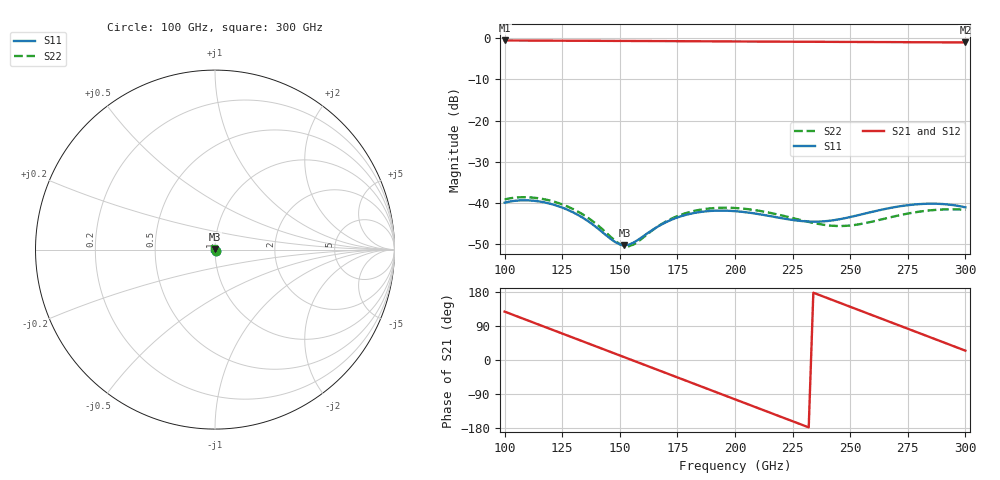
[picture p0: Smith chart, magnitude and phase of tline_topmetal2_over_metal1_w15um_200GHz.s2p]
#  GHZ S DB R 50
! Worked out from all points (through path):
!   101 points, 100 GHz to 300 GHz, reference 50 ohm
!   highest |S21| = -0.53 dB at 100 GHz (marker M1); lowest = -1.0 dB at 300 GHz (marker M2)
!   group delay of S21, straight-line fit = 6.43 ps
!   lowest |S11| = -50.3 dB at 152 GHz (marker M3), VSWR 1.01, Z = 50 + j0.305 ohm
!   |S11| at or under -10 dB: start of sweep to end of sweep
!   |S22| runs from -50.5 to -38.6 dB; largest |S21 - S12| = 1.1e-14
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100  -39.96 -51.2  -0.53 127.7  -0.53 127.7  -39.17 -51.4
108  -39.38 -75.2  -0.55 109.2  -0.55 109.2  -38.63 -75.0
116  -39.76 -99.1  -0.57 90.7  -0.57 90.7  -39.01 -98.5
124  -40.95 -123.9  -0.58 72.2  -0.58 72.2  -40.17 -122.8
134  -43.65 -159.2  -0.61 49.0  -0.61 49.0  -42.84 -156.7
144  -47.86 151.5  -0.63 25.9  -0.63 25.9  -47.22 157.0
152  -50.31 88.0  -0.64 7.4  -0.64 7.4  -50.52 94.0
160  -48.20 25.0  -0.66 -11.2  -0.66 -11.2  -48.51 25.1
168  -45.30 -17.5  -0.68 -29.7  -0.68 -29.7  -45.20 -18.8
184  -42.30 -81.7  -0.73 -66.8  -0.73 -66.8  -41.77 -82.2
192  -41.91 -111.9  -0.75 -85.3  -0.75 -85.3  -41.24 -111.4
200  -42.03 -142.7  -0.77 -103.8  -0.77 -103.8  -41.26 -141.0
208  -42.55 -175.1  -0.79 -122.3  -0.79 -122.3  -41.72 -171.6
218  -43.51 140.9  -0.82 -145.4  -0.82 -145.4  -42.77 147.7
226  -44.24 102.1  -0.83 -163.9  -0.83 -163.9  -43.84 112.0
234  -44.58 60.5  -0.85 177.5  -0.85 177.5  -44.89 72.5
250  -43.46 -22.5  -0.89 140.5  -0.89 140.5  -45.51 -15.9
260  -42.13 -68.7  -0.91 117.3  -0.91 117.3  -44.51 -69.6
268  -41.18 -102.3  -0.93 98.8  -0.93 98.8  -43.45 -108.5
276  -40.51 -133.6  -0.95 80.2  -0.95 80.2  -42.51 -144.3
284  -40.22 -163.5  -0.97 61.7  -0.97 61.7  -41.87 -178.2
300  -41.10 138.3  -1.01 24.6  -1.01 24.6  -41.69 115.1
